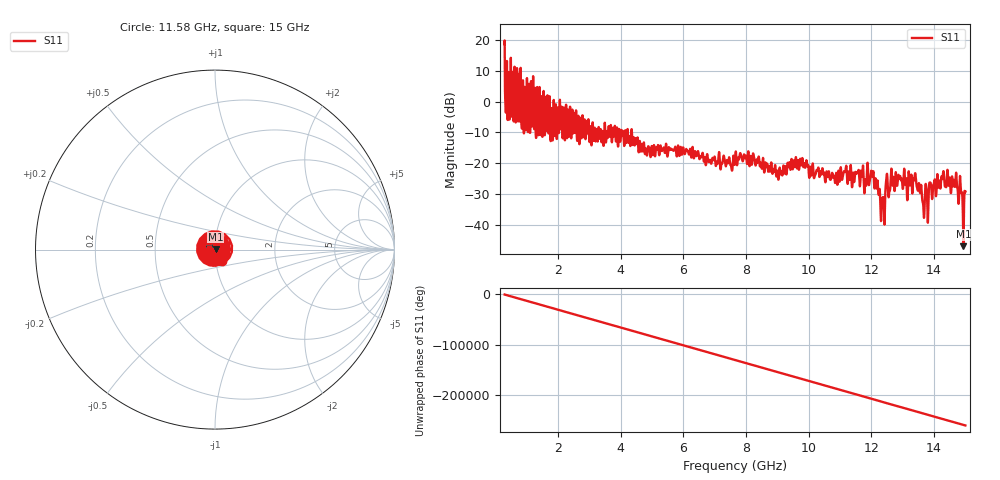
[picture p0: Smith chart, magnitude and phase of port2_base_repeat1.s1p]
# GHZ S RI R 50.0
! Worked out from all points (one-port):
!   12801 points, 300 MHz to 15 GHz, reference 50 ohm
!   lowest |S11| = -46.8 dB at 14.94 GHz (marker M1), VSWR 1.01, Z = 50.4 + j0.29 ohm
!   |S11| at or under -10 dB: 4.085 GHz to 4.142 GHz (57.68 MHz wide, 1.4 % of centre); 4.231 GHz to 4.343 GHz (111.7 MHz wide, 2.61 % of centre); 4.361 GHz to end of sweep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
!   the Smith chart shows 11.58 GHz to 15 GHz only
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0.3  -4.461 -7.157
0.3757969  3.111 -1.157
0.3826875  -1.143 -0.3621
0.4228828  -2.858 -0.5641
0.4309219  1.26 -0.2713
0.4424063  -0.5874 0.2468
0.4492969  0.292 0.4334
0.7536328  0.4379 2.128
0.9121172  -0.3047 -0.0604
1.206117  -0.1054 1.765
1.316367  0.038 -0.314
2.1375  -0.098 0.3227
3.975  0.0691 0.2408
5.8125  0.1305 0.0768
7.65  0.0421 -0.0955
9.030422  0.0284 0.0471
9.4875  -0.0501 -0.0631
11.325  -0.0603 0.0358
12.01636  -0.0634 0.0172
12.35974  -0.0268 0.00673
12.65259  0.0531 -0.0348
13.1625  0.024 0.0213
13.39678  0.0264 -0.0641
13.74016  -0.00431 -0.0453
14.24777  -0.0513 -0.0284
14.64398  -0.0186 0.0433
14.93798  0.00358 0.00288
15  0.0333 -0.0105
